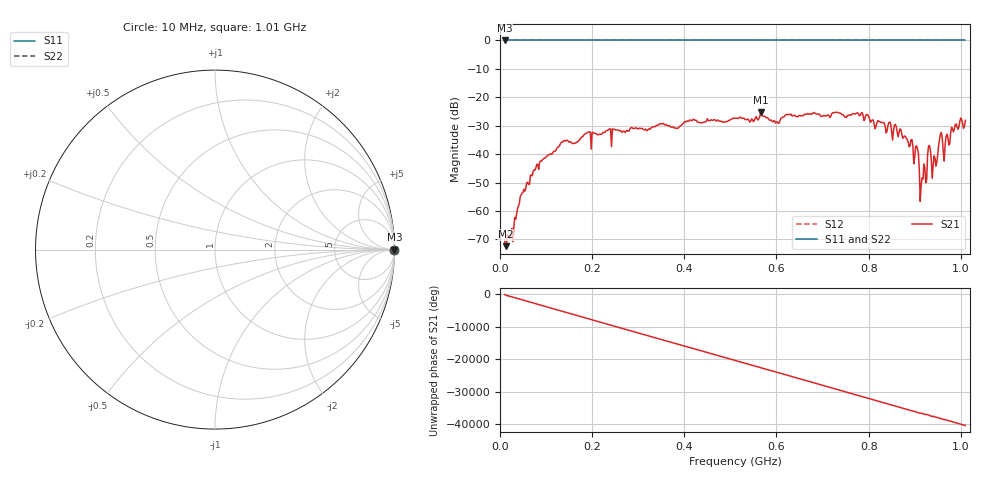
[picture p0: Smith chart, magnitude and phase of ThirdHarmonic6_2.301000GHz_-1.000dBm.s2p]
! 8/17/2025 3:07:39 AM
! C:\ANRITSUVNA\TEMP\TEMP.S2P
! CHANNEL.1
! TR.MEASUREMENT
! RAW.DATA
! RF.CORRECTION.OFF
! AVERAGING.OFF
! IF.BANDWIDTH: 5KHZ
! SWEEPTYPE:  FREQ.SWEEP(Linear)
! Reference Plane Port Info
! PORT:  PORT1  PORT2
! DISTANCE:  0  m  0  m
! TIME:  0  s  0  s
! PHASE.OFFSET:  0  deg.  0  deg.
! LOSS:  0  dB  0  dB
! REF.LOSS:  0  dB  0  dB
! REF.FREQ:  0  Hz  0  Hz
! Power Info
! POWER:  -20  dBm  -20  dBm
! EFF.POWER:  -20  dBm  -20  dBm
! SOURCE.ATTEN:  0  dB  0  dB
! TEST.ATTEN:  0  dB  0  dB
# GHZ S RI R 50.0
! FREQ.GHZ  S11RE  S11IM  S21RE  S21IM  S12RE  S12IM  S22RE  S22IM
!; PortSelection: Port_12
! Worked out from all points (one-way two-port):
!   501 points, 10 MHz to 1.01 GHz, reference 50 ohm
!   highest |S21| = -25.17 dB at 566 MHz (marker M1); lowest = -72.4 dB at 12 MHz (marker M2)
!   lowest |S11| = 0.0 dB at 10 MHz (marker M3)
!   |S11| at or under -10 dB: nowhere
!   |S22| runs from 0.0 to 0.0 dB; largest |S21 - S12| = 1.1
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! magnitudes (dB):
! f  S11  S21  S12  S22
! 10 MHz  0.0  -70.2  0.0  0.0
! 12 MHz  0.0  -72.4  0.0  0.0
! 26 MHz  0.0  -66.1  0.0  0.0
! 48 MHz  0.0  -53.7  0.0  0.0
! 78 MHz  0.0  -44.7  0.0  0.0
! 136 MHz  0.0  -35.8  0.0  0.0
! 178 MHz  0.0  -33.9  0.0  0.0
! 344 MHz  0.0  -29.7  0.0  0.0
! 510 MHz  0.0  -27.4  0.0  0.0
! 566 MHz  0.0  -25.2  0.0  0.0
! 602 MHz  0.0  -28.6  0.0  0.0
! 678 MHz  0.0  -25.7  0.0  0.0
! 774 MHz  0.0  -25.6  0.0  0.0
! 844 MHz  0.0  -28.9  0.0  0.0
! 904 MHz  0.0  -37.1  0.0  0.0
! 914 MHz  0.0  -50.7  0.0  0.0
! 932 MHz  0.0  -37.0  0.0  0.0
! 942 MHz  0.0  -40.6  0.0  0.0
! 956 MHz  0.0  -32.8  0.0  0.0
! 964 MHz  0.0  -42.4  0.0  0.0
! 984 MHz  0.0  -32.2  0.0  0.0
! 1.01 GHz  0.0  -28.1  0.0  0.0
